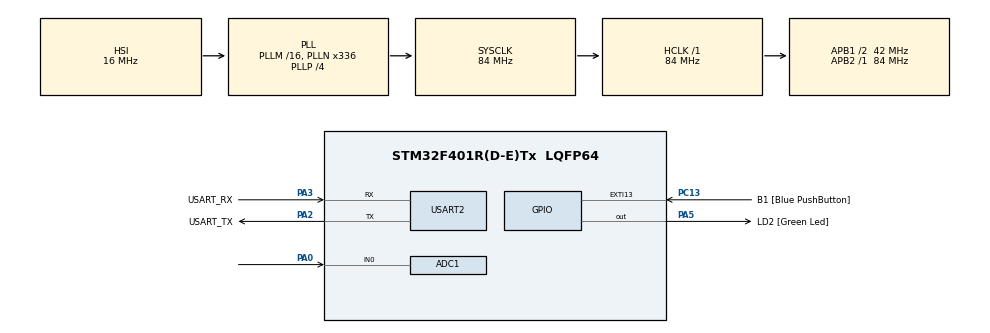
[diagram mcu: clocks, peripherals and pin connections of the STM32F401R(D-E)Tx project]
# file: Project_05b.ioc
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ADC1.Channel-0\#ChannelRegularConversion=ADC_CHANNEL_0
ADC1.ContinuousConvMode=ENABLE
ADC1.DMAContinuousRequests=ENABLE
ADC1.ExternalTrigConv=ADC_SOFTWARE_START
ADC1.NbrOfConversion=1
ADC1.NbrOfConversionFlag=1
ADC1.Rank-0\#ChannelRegularConversion=1
ADC1.SamplingTime-0\#ChannelRegularConversion=ADC_SAMPLETIME_480CYCLES
ADC1.ScanConvMode=ENABLE
ADC1.master=1
Dma.ADC1.0.Direction=DMA_PERIPH_TO_MEMORY
Dma.ADC1.0.FIFOMode=DMA_FIFOMODE_DISABLE
Dma.ADC1.0.Instance=DMA2_Stream0
Dma.ADC1.0.MemDataAlignment=DMA_MDATAALIGN_HALFWORD
Dma.ADC1.0.MemInc=DMA_MINC_ENABLE
Dma.ADC1.0.Mode=DMA_CIRCULAR
Dma.ADC1.0.PeriphDataAlignment=DMA_PDATAALIGN_HALFWORD
Dma.ADC1.0.PeriphInc=DMA_PINC_DISABLE
Dma.ADC1.0.Priority=DMA_PRIORITY_HIGH
Dma.Request0=ADC1
Mcu.Family=STM32F4
Mcu.Name=STM32F401R(D-E)Tx
Mcu.Package=LQFP64
NVIC.ADC_IRQn=true\:0\:0\:false\:false\:true\:true\:true\:true
NVIC.DMA2_Stream0_IRQn=true\:0\:0\:false\:false\:true\:false\:true\:true
NVIC.PriorityGroup=NVIC_PRIORITYGROUP_0
NVIC.TIM2_IRQn=true\:0\:0\:false\:false\:true\:true\:true\:true
PA0-WKUP.Signal=SharedAnalog_PA0
PA13.GPIO_Label=TMS
PA13.Mode=Serial_Wire
PA13.Signal=SYS_JTMS-SWDIO
PA14.GPIO_Label=TCK
PA14.Mode=Serial_Wire
PA14.Signal=SYS_JTCK-SWCLK
PA2.GPIO_Label=USART_TX
PA2.GPIO_Mode=GPIO_MODE_AF_PP
PA2.GPIO_PuPd=GPIO_NOPULL
PA2.GPIO_Speed=GPIO_SPEED_FREQ_LOW
PA2.Mode=Asynchronous
PA2.Signal=USART2_TX
PA3.GPIO_Label=USART_RX
PA3.GPIO_Mode=GPIO_MODE_AF_PP
PA3.GPIO_PuPd=GPIO_NOPULL
PA3.GPIO_Speed=GPIO_SPEED_FREQ_LOW
PA3.Mode=Asynchronous
PA3.Signal=USART2_RX
PA5.GPIO_Label=LD2 [Green Led]
PA5.GPIO_Mode=GPIO_MODE_OUTPUT_PP
PA5.GPIO_PuPd=GPIO_NOPULL
PA5.GPIO_Speed=GPIO_SPEED_FREQ_LOW
PA5.Signal=GPIO_Output
PB3.GPIO_Label=SWO
PB3.Signal=SYS_JTDO-SWO
PC13-ANTI_TAMP.GPIO_Label=B1 [Blue PushButton]
PC13-ANTI_TAMP.GPIO_ModeDefaultEXTI=GPIO_MODE_IT_FALLING
PC13-ANTI_TAMP.GPIO_PuPd=GPIO_NOPULL
PC13-ANTI_TAMP.Signal=GPXTI13
PC14-OSC32_IN.Mode=LSE-External-Oscillator
PC14-OSC32_IN.Signal=RCC_OSC32_IN
PC15-OSC32_OUT.Mode=LSE-External-Oscillator
PC15-OSC32_OUT.Signal=RCC_OSC32_OUT
PH0\ -\ OSC_IN.Mode=HSE-External-Clock-Source
PH0\ -\ OSC_IN.Signal=RCC_OSC_IN
PH1\ -\ OSC_OUT.Mode=HSE-External-Clock-Source
PH1\ -\ OSC_OUT.Signal=RCC_OSC_OUT
ProjectManager.HeapSize=0x200
ProjectManager.StackSize=0x400
ProjectManager.TargetToolchain=STM32CubeIDE
RCC.48MHZClocksFreq_Value=48000000
RCC.AHBFreq_Value=84000000
RCC.APB1CLKDivider=RCC_HCLK_DIV2
RCC.APB1Freq_Value=42000000
RCC.APB1TimFreq_Value=84000000
RCC.APB2Freq_Value=84000000
RCC.APB2TimFreq_Value=84000000
RCC.CortexFreq_Value=84000000
RCC.HCLKFreq_Value=84000000
RCC.HSE_VALUE=8000000
RCC.HSI_VALUE=16000000
RCC.PLLN=336
RCC.PLLP=RCC_PLLP_DIV4
RCC.PLLQ=7
RCC.SYSCLKFreq_VALUE=84000000
RCC.SYSCLKSource=RCC_SYSCLKSOURCE_PLLCLK
RCC.VCOOutputFreq_Value=336000000
SH.SharedAnalog_PA0.0=GPIO_Analog
SH.SharedAnalog_PA0.1=ADC1_IN0,IN0
TIM2.Period=9999
TIM2.Prescaler=8399
TIM2.TIM_MasterOutputTrigger=TIM_TRGO_RESET
USART2.VirtualMode=VM_ASYNC
VP_TIM2_VS_ClockSourceINT.Mode=Internal
board=NUCLEO-F401RE

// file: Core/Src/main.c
/* USER CODE BEGIN Header */
/**
  ******************************************************************************
  * @file           : main.c
  * @brief          : Main program body
  ******************************************************************************
  * @attention
  *
  * Copyright (c) 2023 STMicroelectronics.
  * All rights reserved.
  *
  * This software is licensed under terms that can be found in the LICENSE file
  * in the root directory of this software component.
  * If no LICENSE file comes with this software, it is provided AS-IS.
  *
  ******************************************************************************
  */
/* USER CODE END Header */
#include "main.h"

/* USER CODE BEGIN Includes */
#include "math.h"
/* USER CODE END Includes */

ADC_HandleTypeDef hadc1;
DMA_HandleTypeDef hdma_adc1;

TIM_HandleTypeDef htim2;

UART_HandleTypeDef huart2;

/* USER CODE BEGIN PV */
uint16_t buf[2];
_Bool half_full=0;
_Bool full=0;
/* USER CODE END PV */

void SystemClock_Config(void);
static void MX_GPIO_Init(void);
static void MX_DMA_Init(void);
static void MX_USART2_UART_Init(void);
static void MX_ADC1_Init(void);
static void MX_TIM2_Init(void);

/* USER CODE BEGIN 0 */
void HAL_TIM_PeriodElapsedCallback(TIM_HandleTypeDef* htim){
	if(half_full==1){
		  char string[64];
		  float V_adc = buf[0]*3.3/4096.0;
		  float LDR = (V_adc*100000)/(3.3-V_adc);
		  float LUX = 10*(pow((100000/LDR),1.25));
	 	  int length = snprintf(string, sizeof(string),"LUX:%.3f\r\n",LUX);
		  HAL_UART_Transmit(&huart2,string,length,100);
		  half_full=0;
	}
	if(full==1){
		  char string[64];
		  float V_adc = buf[1]*3.3/4096.0;
		  float LDR = (V_adc*100000)/(3.3-V_adc);
		  float LUX = 10*(pow((100000/LDR),1.25));
	 	  int length = snprintf(string, sizeof(string),"LUX:%.3f\r\n",LUX);
		  HAL_UART_Transmit(&huart2,string,length,100);
		  full=0;
	}

}
void HAL_ADC_ConvHalfCpltCallback(ADC_HandleTypeDef* hadc)
{
	half_full=1;
	full=0;
}

void HAL_ADC_ConvCpltCallback(ADC_HandleTypeDef* hadc)
{
	full=1;
	half_full=0;
}
/* USER CODE END 0 */

int main(void)
{

  /* MCU Configuration--------------------------------------------------------*/

  /* Reset of all peripherals, Initializes the Flash interface and the Systick. */
  HAL_Init();

  /* Configure the system clock */
  SystemClock_Config();

  /* Initialize all configured peripherals */
  MX_GPIO_Init();
  MX_DMA_Init();
  MX_USART2_UART_Init();
  MX_ADC1_Init();
  MX_TIM2_Init();
  /* USER CODE BEGIN 2 */
  HAL_TIM_Base_Start_IT(&htim2);
  HAL_ADC_Start_DMA(&hadc1,(uint32_t*) buf, 2);
  /* USER CODE END 2 */

  /* Infinite loop */
  while (1)
  {

  }
}

void SystemClock_Config(void)
{
  RCC_OscInitTypeDef RCC_OscInitStruct = {0};
  RCC_ClkInitTypeDef RCC_ClkInitStruct = {0};

  /** Configure the main internal regulator output voltage
  */
  __HAL_RCC_PWR_CLK_ENABLE();
  __HAL_PWR_VOLTAGESCALING_CONFIG(PWR_REGULATOR_VOLTAGE_SCALE2);

  /** Initializes the RCC Oscillators according to the specified parameters
  * in the RCC_OscInitTypeDef structure.
  */
  RCC_OscInitStruct.OscillatorType = RCC_OSCILLATORTYPE_HSI;
  RCC_OscInitStruct.HSIState = RCC_HSI_ON;
  RCC_OscInitStruct.HSICalibrationValue = RCC_HSICALIBRATION_DEFAULT;
  RCC_OscInitStruct.PLL.PLLState = RCC_PLL_ON;
  RCC_OscInitStruct.PLL.PLLSource = RCC_PLLSOURCE_HSI;
  RCC_OscInitStruct.PLL.PLLM = 16;
  RCC_OscInitStruct.PLL.PLLN = 336;
  RCC_OscInitStruct.PLL.PLLP = RCC_PLLP_DIV4;
  RCC_OscInitStruct.PLL.PLLQ = 7;
  if (HAL_RCC_OscConfig(&RCC_OscInitStruct) != HAL_OK)
  {
    Error_Handler();
  }

  /** Initializes the CPU, AHB and APB buses clocks
  */
  RCC_ClkInitStruct.ClockType = RCC_CLOCKTYPE_HCLK|RCC_CLOCKTYPE_SYSCLK
                              |RCC_CLOCKTYPE_PCLK1|RCC_CLOCKTYPE_PCLK2;
  RCC_ClkInitStruct.SYSCLKSource = RCC_SYSCLKSOURCE_PLLCLK;
  RCC_ClkInitStruct.AHBCLKDivider = RCC_SYSCLK_DIV1;
  RCC_ClkInitStruct.APB1CLKDivider = RCC_HCLK_DIV2;
  RCC_ClkInitStruct.APB2CLKDivider = RCC_HCLK_DIV1;

  if (HAL_RCC_ClockConfig(&RCC_ClkInitStruct, FLASH_LATENCY_2) != HAL_OK)
  {
    Error_Handler();
  }
}

static void MX_ADC1_Init(void)
{

  ADC_ChannelConfTypeDef sConfig = {0};

  /** Configure the global features of the ADC (Clock, Resolution, Data Alignment and number of conversion)
  */
  hadc1.Instance = ADC1;
  hadc1.Init.ClockPrescaler = ADC_CLOCK_SYNC_PCLK_DIV4;
  hadc1.Init.Resolution = ADC_RESOLUTION_12B;
  hadc1.Init.ScanConvMode = ENABLE;
  hadc1.Init.ContinuousConvMode = ENABLE;
  hadc1.Init.DiscontinuousConvMode = DISABLE;
  hadc1.Init.ExternalTrigConvEdge = ADC_EXTERNALTRIGCONVEDGE_NONE;
  hadc1.Init.ExternalTrigConv = ADC_SOFTWARE_START;
  hadc1.Init.DataAlign = ADC_DATAALIGN_RIGHT;
  hadc1.Init.NbrOfConversion = 1;
  hadc1.Init.DMAContinuousRequests = ENABLE;
  hadc1.Init.EOCSelection = ADC_EOC_SINGLE_CONV;
  if (HAL_ADC_Init(&hadc1) != HAL_OK)
  {
    Error_Handler();
  }

  /** Configure for the selected ADC regular channel its corresponding rank in the sequencer and its sample time.
  */
  sConfig.Channel = ADC_CHANNEL_0;
  sConfig.Rank = 1;
  sConfig.SamplingTime = ADC_SAMPLETIME_480CYCLES;
  if (HAL_ADC_ConfigChannel(&hadc1, &sConfig) != HAL_OK)
  {
    Error_Handler();
  }

}

static void MX_TIM2_Init(void)
{

  TIM_ClockConfigTypeDef sClockSourceConfig = {0};
  TIM_MasterConfigTypeDef sMasterConfig = {0};

  htim2.Instance = TIM2;
  htim2.Init.Prescaler = 8399;
  htim2.Init.CounterMode = TIM_COUNTERMODE_UP;
  htim2.Init.Period = 9999;
  htim2.Init.ClockDivision = TIM_CLOCKDIVISION_DIV1;
  htim2.Init.AutoReloadPreload = TIM_AUTORELOAD_PRELOAD_DISABLE;
  if (HAL_TIM_Base_Init(&htim2) != HAL_OK)
  {
    Error_Handler();
  }
  sClockSourceConfig.ClockSource = TIM_CLOCKSOURCE_INTERNAL;
  if (HAL_TIM_ConfigClockSource(&htim2, &sClockSourceConfig) != HAL_OK)
  {
    Error_Handler();
  }
  sMasterConfig.MasterOutputTrigger = TIM_TRGO_RESET;
  sMasterConfig.MasterSlaveMode = TIM_MASTERSLAVEMODE_DISABLE;
  if (HAL_TIMEx_MasterConfigSynchronization(&htim2, &sMasterConfig) != HAL_OK)
  {
    Error_Handler();
  }

}

static void MX_USART2_UART_Init(void)
{

  huart2.Instance = USART2;
  huart2.Init.BaudRate = 115200;
  huart2.Init.WordLength = UART_WORDLENGTH_8B;
  huart2.Init.StopBits = UART_STOPBITS_1;
  huart2.Init.Parity = UART_PARITY_NONE;
  huart2.Init.Mode = UART_MODE_TX_RX;
  huart2.Init.HwFlowCtl = UART_HWCONTROL_NONE;
  huart2.Init.OverSampling = UART_OVERSAMPLING_16;
  if (HAL_UART_Init(&huart2) != HAL_OK)
  {
    Error_Handler();
  }

}

static void MX_DMA_Init(void)
{

  /* DMA controller clock enable */
  __HAL_RCC_DMA2_CLK_ENABLE();

  /* DMA interrupt init */
  /* DMA2_Stream0_IRQn interrupt configuration */
  HAL_NVIC_SetPriority(DMA2_Stream0_IRQn, 0, 0);
  HAL_NVIC_EnableIRQ(DMA2_Stream0_IRQn);

}

static void MX_GPIO_Init(void)
{
  GPIO_InitTypeDef GPIO_InitStruct = {0};

  /* GPIO Ports Clock Enable */
  __HAL_RCC_GPIOC_CLK_ENABLE();
  __HAL_RCC_GPIOH_CLK_ENABLE();
  __HAL_RCC_GPIOA_CLK_ENABLE();
  __HAL_RCC_GPIOB_CLK_ENABLE();

  /*Configure GPIO pin Output Level */
  HAL_GPIO_WritePin(LD2_GPIO_Port, LD2_Pin, GPIO_PIN_RESET);

  /*Configure GPIO pin : B1_Pin */
  GPIO_InitStruct.Pin = B1_Pin;
  GPIO_InitStruct.Mode = GPIO_MODE_IT_FALLING;
  GPIO_InitStruct.Pull = GPIO_NOPULL;
  HAL_GPIO_Init(B1_GPIO_Port, &GPIO_InitStruct);

  /*Configure GPIO pin : LD2_Pin */
  GPIO_InitStruct.Pin = LD2_Pin;
  GPIO_InitStruct.Mode = GPIO_MODE_OUTPUT_PP;
  GPIO_InitStruct.Pull = GPIO_NOPULL;
  GPIO_InitStruct.Speed = GPIO_SPEED_FREQ_LOW;
  HAL_GPIO_Init(LD2_GPIO_Port, &GPIO_InitStruct);

}

void Error_Handler(void)
{
  __disable_irq();
  while (1)
  {
  }
}
